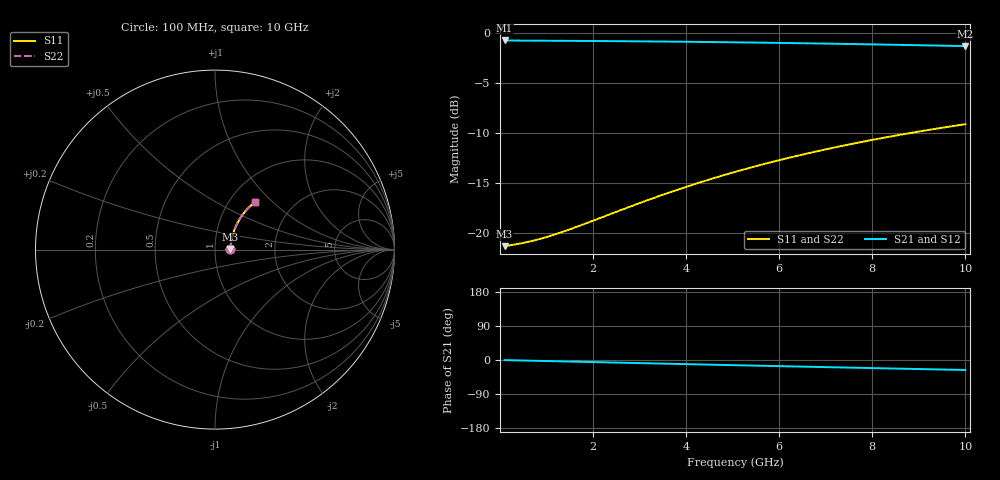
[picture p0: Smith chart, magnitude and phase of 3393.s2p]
# Hz S RI R 50.00
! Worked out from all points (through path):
!   100 points, 100 MHz to 10 GHz, reference 50 ohm
!   highest |S21| = -0.78 dB at 100 MHz (marker M1); lowest = -1.3 dB at 10 GHz (marker M2)
!   group delay of S21, straight-line fit = 7.33 ps
!   lowest |S11| = -21.4 dB at 100 MHz (marker M3), VSWR 1.19, Z = 59.3 + j0.389 ohm
!   |S11| at or under -10 dB: start of sweep to 8.866 GHz
!   |S22| runs from -21.4 to -9.2 dB; largest |S21 - S12| = 0
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1e8  0.0854 0.00326  0.9146 -0.00439  0.9146 -0.00439  0.0854 0.00326
5e8  0.0872 0.0162  0.9128 -0.0219  0.9128 -0.0219  0.0872 0.0162
7e8  0.088 0.0227  0.912 -0.0306  0.912 -0.0306  0.088 0.0227
9e8  0.0888 0.0291  0.9111 -0.0393  0.9111 -0.0393  0.0888 0.0291
1.1e9  0.0898 0.0355  0.9102 -0.048  0.9102 -0.048  0.0898 0.0355
1.3e9  0.0907 0.0419  0.9091 -0.0566  0.9091 -0.0566  0.0907 0.0419
1.8e9  0.0937 0.0578  0.9061 -0.0781  0.9061 -0.0781  0.0937 0.0578
2.8e9  0.1014 0.0889  0.898 -0.1206  0.898 -0.1206  0.1014 0.0889
3.4e9  0.1074 0.1071  0.8918 -0.1456  0.8918 -0.1456  0.1074 0.1071
3.8e9  0.1119 0.1189  0.8871 -0.162  0.8871 -0.162  0.1119 0.1189
4.2e9  0.1168 0.1306  0.882 -0.1782  0.882 -0.1782  0.1168 0.1306
4.6e9  0.1221 0.142  0.8764 -0.1941  0.8764 -0.1941  0.1221 0.142
5.1e9  0.1293 0.1559  0.8689 -0.2137  0.8689 -0.2137  0.1293 0.1559
5.5e9  0.1354 0.1667  0.8625 -0.2291  0.8625 -0.2291  0.1354 0.1667
5.9e9  0.142 0.1772  0.8557 -0.2442  0.8557 -0.2442  0.142 0.1772
6.3e9  0.1488 0.1875  0.8485 -0.259  0.8485 -0.259  0.1488 0.1875
6.7e9  0.156 0.1974  0.8409 -0.2735  0.8409 -0.2735  0.156 0.1974
7.5e9  0.1713 0.2162  0.8249 -0.3015  0.8249 -0.3015  0.1713 0.2162
7.9e9  0.1793 0.2251  0.8164 -0.315  0.8164 -0.315  0.1793 0.2251
8.4e9  0.1898 0.2357  0.8054 -0.3313  0.8054 -0.3313  0.1898 0.2357
9.2e9  0.2072 0.2515  0.787 -0.3564  0.787 -0.3564  0.2072 0.2515
1e10  0.2254 0.2659  0.7678 -0.38  0.7678 -0.38  0.2254 0.2659
